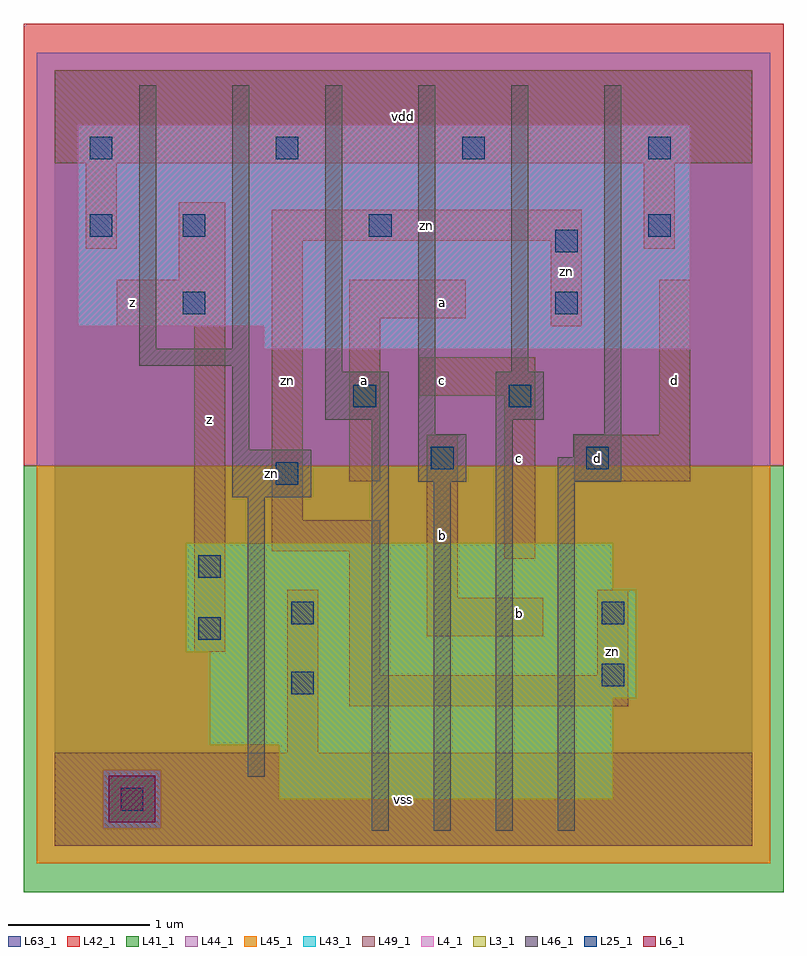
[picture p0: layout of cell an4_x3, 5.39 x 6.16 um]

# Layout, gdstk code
import gdstk
lib = gdstk.Library(unit=1e-6, precision=1e-09)
def R(c, l, rs):  # rectangles x0, y0, x1, y1
    for r in rs: c.add(gdstk.rectangle(r[:2], r[2:], *l))
def A(c, l, x, y, w, h, nx, ny, dx, dy):  # array of equal rectangles
    R(c, l, [(x+i*dx, y+j*dy, x+i*dx+w, y+j*dy+h) for i in range(nx) for j in range(ny)])
L3_1 = (3, 1)
L4_1 = (4, 1)
L6_1 = (6, 1)
L25_1 = (25, 1)
L41_1 = (41, 1)
L42_1 = (42, 1)
L43_1 = (43, 1)
L44_1 = (44, 1)
L45_1 = (45, 1)
L46_1 = (46, 1)
L49_1 = (49, 1)
L63_1 = (63, 1)

an4_x3 = lib.new_cell('an4_x3')
R(an4_x3, L3_1, [(1.595,0.33,3.96,0.715), (1.1,0.715,3.96,1.045), (1.1,1.045,4.125,1.375), (0.935,1.375,4.125,1.815), (0.935,1.815,3.96,2.145)])
R(an4_x3, L4_1, [(1.485,3.52,4.51,3.685), (0.165,3.685,4.51,5.115)])
R(an4_x3, L6_1, [(0.385,0.165,0.715,0.495)])
A(an4_x3, L25_1, 0.25, 4.87, 0.16, 0.16, 4, 1, 1.32, 0)
R(an4_x3, L25_1, [(0.47,0.25,0.63,0.41), (1.68,1.075,1.84,1.235), (3.88,1.13,4.04,1.29), (1.02,1.46,1.18,1.62), (1.68,1.57,1.84,1.73), (3.88,1.57,4.04,1.73), (1.02,1.9,1.18,2.06), (1.57,2.56,1.73,2.72), (2.67,2.67,2.83,2.83), (3.77,2.67,3.93,2.83), (2.12,3.11,2.28,3.27), (3.22,3.11,3.38,3.27), (0.91,3.77,1.07,3.93), (3.55,3.77,3.71,3.93), (3.55,4.21,3.71,4.37), (0.25,4.32,0.41,4.48), (0.91,4.32,1.07,4.48), (2.23,4.32,2.39,4.48), (4.21,4.32,4.37,4.48)])
R(an4_x3, L41_1, [(-0.22,-0.33,5.17,2.695)])
R(an4_x3, L42_1, [(-0.22,2.695,5.17,5.83)])
R(an4_x3, L43_1, [(0.385,0.165,0.715,0.495), (1.595,0.33,3.96,0.715), (1.1,0.715,3.96,1.045), (1.1,1.045,4.125,1.375), (0.935,1.375,4.125,1.815), (0.935,1.815,3.96,2.145), (1.485,3.52,4.51,3.685), (0.165,3.685,4.51,5.115)])
R(an4_x3, L44_1, [(0.345,0.125,0.755,0.535), (-0.125,2.695,5.075,5.625)])
R(an4_x3, L45_1, [(-0.125,-0.125,5.075,0.125), (-0.125,0.125,0.345,0.535), (0.755,0.125,5.075,0.535), (-0.125,0.535,5.075,2.695)])
R(an4_x3, L46_1, [(2.25,0.105,2.37,3.02), (2.69,0.105,2.81,2.58), (3.13,0.105,3.25,3.02), (3.57,0.105,3.69,2.58), (1.37,0.49,1.49,2.47), (1.26,2.47,1.82,2.81), (2.58,2.58,2.92,2.92), (3.57,2.58,4.02,2.755), (3.68,2.755,4.02,2.92), (1.26,2.81,1.38,3.405), (2.58,2.92,2.7,5.395), (3.9,2.92,4.02,5.395), (1.92,3.02,2.37,3.36), (3.13,3.02,3.47,3.36), (1.92,3.36,2.04,5.395), (3.24,3.36,3.36,5.395), (0.6,3.405,1.38,3.525), (0.6,3.525,0.72,5.395), (1.26,3.525,1.38,5.395)])
R(an4_x3, L49_1, [(0,0,4.95,0.66), (1.65,0.66,1.87,1.815), (2.09,0.99,4.07,1.21), (2.09,1.21,2.31,2.09), (3.85,1.21,4.07,1.815), (0.99,1.375,1.21,3.685), (2.64,1.485,3.465,1.76), (2.64,1.76,2.86,2.915), (3.19,2.035,3.41,3.19), (1.54,2.09,2.31,2.31), (1.54,2.31,1.76,4.29), (2.09,2.585,2.31,3.74), (3.685,2.585,4.51,2.915), (4.29,2.915,4.51,4.015), (2.585,3.19,3.41,3.465), (0.44,3.685,1.21,4.015), (3.52,3.685,3.74,4.29), (2.09,3.74,2.915,4.015), (0.88,4.015,1.21,4.565), (0.22,4.235,0.44,4.84), (4.18,4.235,4.4,4.84), (1.54,4.29,3.74,4.51), (0,4.84,4.95,5.5)])
R(an4_x3, L63_1, [(0,0,4.95,5.5)])
an4_x3.add(gdstk.Label('zn', (1.54,2.64), layer=46, texttype=1))
an4_x3.add(gdstk.Label('z', (0.55,3.85), layer=49, texttype=1))
an4_x3.add(gdstk.Label('z', (0.55,3.85), layer=49, texttype=1))
an4_x3.add(gdstk.Label('z', (1.1,3.025), layer=49, texttype=1))
an4_x3.add(gdstk.Label('z', (1.1,3.025), layer=49, texttype=1))
an4_x3.add(gdstk.Label('zn', (1.65,3.3), layer=49, texttype=1))
an4_x3.add(gdstk.Label('vss', (2.475,0.33), layer=49, texttype=1))
an4_x3.add(gdstk.Label('vss', (2.475,0.33), layer=49, texttype=1))
an4_x3.add(gdstk.Label('b', (2.75,2.2), layer=49, texttype=1))
an4_x3.add(gdstk.Label('b', (2.75,2.2), layer=49, texttype=1))
an4_x3.add(gdstk.Label('a', (2.2,3.3), layer=49, texttype=1))
an4_x3.add(gdstk.Label('c', (2.75,3.3), layer=49, texttype=1))
an4_x3.add(gdstk.Label('c', (2.75,3.3), layer=49, texttype=1))
an4_x3.add(gdstk.Label('a', (2.2,3.3), layer=49, texttype=1))
an4_x3.add(gdstk.Label('a', (2.75,3.85), layer=49, texttype=1))
an4_x3.add(gdstk.Label('a', (2.75,3.85), layer=49, texttype=1))
an4_x3.add(gdstk.Label('vdd', (2.475,5.17), layer=49, texttype=1))
an4_x3.add(gdstk.Label('vdd', (2.475,5.17), layer=49, texttype=1))
an4_x3.add(gdstk.Label('b', (3.3,1.65), layer=49, texttype=1))
an4_x3.add(gdstk.Label('b', (3.3,1.65), layer=49, texttype=1))
an4_x3.add(gdstk.Label('d', (3.85,2.75), layer=49, texttype=1))
an4_x3.add(gdstk.Label('c', (3.3,2.75), layer=49, texttype=1))
an4_x3.add(gdstk.Label('c', (3.3,2.75), layer=49, texttype=1))
an4_x3.add(gdstk.Label('d', (3.85,2.75), layer=49, texttype=1))
an4_x3.add(gdstk.Label('zn', (3.63,4.07), layer=49, texttype=1))
an4_x3.add(gdstk.Label('zn', (2.64,4.4), layer=49, texttype=1))
an4_x3.add(gdstk.Label('zn', (3.96,1.375), layer=49, texttype=1))
an4_x3.add(gdstk.Label('d', (4.4,3.3), layer=49, texttype=1))
an4_x3.add(gdstk.Label('d', (4.4,3.3), layer=49, texttype=1))

lib.write_gds('an4_x3.gds')
